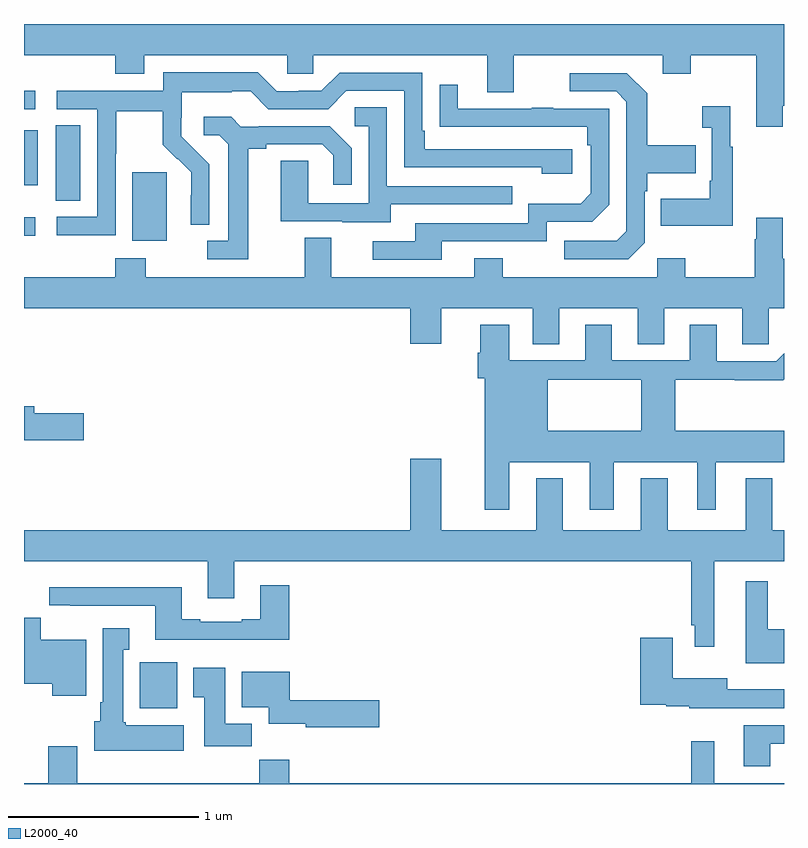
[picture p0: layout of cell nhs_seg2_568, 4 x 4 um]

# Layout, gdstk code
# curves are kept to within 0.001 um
import gdstk
lib = gdstk.Library(unit=1e-6, precision=1e-09)
def R(c, l, rs):  # rectangles x0, y0, x1, y1
    for r in rs: c.add(gdstk.rectangle(r[:2], r[2:], *l))
def P(c, l, *ps):  # polygons
    for p in ps: c.add(gdstk.Polygon(p, *l))
L2000_40 = (2000, 40)

nhs_seg2_568 = lib.new_cell('nhs_seg2_568')
R(nhs_seg2_568, L2000_40, [(139.61,644.198,139.807,644.44), (139.571,646.658,139.75,647.019), (139,646.686,139.06,646.782), (139.166,646.87,139.297,647.267), (139,646.952,139.072,647.242), (139,647.352,139.06,647.45)])
P(nhs_seg2_568, L2000_40, [(142.993,647.371),(143,647.371),(143,647.8),(139,647.8),(139,647.636),(139.481,647.636),(139.481,647.537),(139.633,647.537),(139.633,647.636),(140.385,647.636),(140.385,647.538),(140.523,647.538),(140.523,647.636),(141.437,647.636),(141.437,647.442),(141.577,647.442),(141.577,647.636),(142.361,647.636),(142.361,647.537),(142.509,647.537),(142.509,647.636),(142.853,647.636),(142.853,647.259),(142.993,647.259)],
  [(139.482,647.116),(139.485,647.116),(139.485,647.34),(139.729,647.34),(139.729,647.165),(139.806,647.088),(139.809,647.091),(139.88,647.021),(139.88,646.898),(139.878,646.898),(139.878,646.744),(139.974,646.744),(139.974,647.062),(139.828,647.21),(139.828,647.307),(139.83,647.307),(139.83,647.441),(140.093,647.441),(140.093,647.445),(140.193,647.445),(140.286,647.352),(140.601,647.352),(140.697,647.448),(141,647.448),(141,647.046),(141.725,647.046),(141.725,647.012),(141.886,647.012),(141.886,647.142),(141.109,647.142),(141.109,647.239),(141.096,647.239),(141.096,647.544),(140.661,647.544),(140.565,647.448),(140.447,647.448),(140.447,647.445),(140.331,647.445),(140.231,647.545),(139.734,647.545),(139.734,647.448),(139.173,647.448),(139.173,647.352),(139.386,647.352),(139.386,646.785),(139.173,646.785),(139.173,646.687),(139.482,646.687)],
  [(142.266,646.65),(142.266,646.919),(142.279,646.919),(142.279,647.015),(142.535,647.015),(142.535,647.163),(142.279,647.163),(142.279,647.435),(142.173,647.541),(141.873,647.541),(141.873,647.445),(142.116,647.445),(142.17,647.391),(142.17,646.71),(142.119,646.659),(141.843,646.659),(141.843,646.563),(142.179,646.563)],
  [(141.199,646.656),(141.75,646.656),(141.75,646.758),(141.99,646.758),(142.08,646.848),(142.08,647.355),(141.785,647.355),(141.785,647.36),(141.673,647.36),(141.673,647.355),(141.283,647.355),(141.283,647.479),(141.187,647.479),(141.187,647.26),(141.964,647.259),(141.964,647.162),(141.984,647.162),(141.984,646.908),(141.931,646.855),(141.654,646.855),(141.654,646.752),(141.059,646.752),(141.059,646.656),(140.835,646.656),(140.835,646.56),(141.199,646.56)],
  [(142.729,647.155),(142.717,647.155),(142.717,647.368),(142.569,647.368),(142.569,647.255),(142.62,647.255),(142.62,646.975),(142.608,646.975),(142.608,646.879),(142.351,646.879),(142.351,646.739),(142.729,646.739)],
  [(140.929,646.851),(141.569,646.851),(141.569,646.947),(140.91,646.947),(140.91,647.363),(140.742,647.363),(140.742,647.262),(140.814,647.262),(140.814,646.857),(140.496,646.857),(140.496,647.081),(140.351,647.081),(140.351,646.761),(140.675,646.761),(140.675,646.757),(140.929,646.757)],
  [(140.179,647.144),(140.275,647.144),(140.275,647.166),(140.57,647.166),(140.627,647.109),(140.627,646.953),(140.724,646.953),(140.724,647.146),(140.608,647.262),(140.236,647.262),(140.236,647.259),(140.142,647.259),(140.09,647.311),(139.947,647.311),(139.947,647.214),(140.028,647.214),(140.075,647.167),(140.075,646.659),(139.965,646.659),(139.965,646.563),(140.179,646.563)],
  [(141.817,646.304),(142.229,646.304),(142.229,646.114),(142.369,646.114),(142.369,646.304),(142.781,646.304),(142.781,646.114),(142.92,646.114),(142.92,646.304),(143,646.304),(143,646.564),(142.993,646.564),(142.993,646.78),(142.853,646.78),(142.853,646.667),(142.846,646.667),(142.846,646.468),(142.479,646.468),(142.479,646.567),(142.332,646.567),(142.332,646.468),(141.519,646.468),(141.519,646.567),(141.371,646.567),(141.371,646.468),(140.617,646.468),(140.617,646.676),(140.477,646.676),(140.477,646.468),(139.641,646.468),(139.641,646.567),(139.481,646.567),(139.481,646.468),(139,646.468),(139,646.304),(141.032,646.304),(141.032,646.116),(141.196,646.116),(141.196,646.304),(141.677,646.304),(141.677,646.114),(141.817,646.114)],
  [(141.553,645.243),(141.553,645.494),(141.977,645.494),(141.977,645.243),(142.105,645.243),(142.105,645.494),(142.544,645.494),(142.544,645.243),(142.642,645.243),(142.642,645.494),(143,645.494),(143,645.658),(142.427,645.658),(142.427,645.928),(142.741,645.928),(142.741,645.926),(142.997,645.926),(143,645.929),(143,646.067),(142.959,646.026),(142.645,646.026),(142.645,646.216),(142.505,646.216),(142.505,646.029),(142.093,646.029),(142.093,646.216),(141.953,646.216),(141.953,646.029),(141.553,646.029),(141.553,646.216),(141.401,646.216),(141.401,646.07),(141.389,646.07),(141.389,645.936),(141.425,645.936),(141.425,645.658),(141.757,645.658),(141.757,645.928),(142.249,645.928),(142.249,645.658),(141.425,645.658),(141.425,645.243)],
  [(139.315,645.752),(139.054,645.752),(139.054,645.788),(139,645.788),(139,645.61),(139.315,645.61)],
  [(142.633,644.972),(143,644.972),(143,645.136),(142.939,645.136),(142.939,645.409),(142.799,645.409),(142.799,645.136),(142.387,645.136),(142.387,645.409),(142.247,645.409),(142.247,645.136),(141.835,645.136),(141.835,645.409),(141.695,645.409),(141.695,645.136),(141.196,645.136),(141.196,645.511),(141.032,645.511),(141.032,645.136),(139,645.136),(139,644.972),(139.967,644.972),(139.967,644.778),(140.107,644.778),(140.107,644.972),(142.512,644.972),(142.512,644.635),(142.529,644.635),(142.529,644.523),(142.633,644.523)],
  [(143,644.614),(142.915,644.614),(142.915,644.866),(142.799,644.866),(142.799,644.435),(143,644.435)],
  [(140.396,644.845),(140.243,644.845),(140.243,644.668),(140.147,644.668),(140.147,644.655),(139.927,644.655),(139.927,644.668),(139.831,644.668),(139.831,644.836),(139.134,644.836),(139.134,644.741),(139.243,644.741),(139.243,644.739),(139.691,644.739),(139.691,644.558),(140.396,644.558)],
  [(139.327,644.56),(139.087,644.56),(139.087,644.676),(139,644.676),(139,644.327),(139.148,644.327),(139.148,644.264),(139.327,644.264)],
  [(139.84,644.11),(139.536,644.11),(139.536,644.124),(139.522,644.124),(139.522,644.507),(139.555,644.507),(139.555,644.62),(139.415,644.62),(139.415,644.23),(139.4,644.23),(139.4,644.13),(139.37,644.13),(139.37,643.976),(139.84,643.976)],
  [(143,644.299),(142.702,644.299),(142.702,644.356),(142.414,644.356),(142.414,644.569),(142.244,644.569),(142.244,644.216),(142.38,644.216),(142.38,644.209),(142.5,644.209),(142.5,644.198),(143,644.198)],
  [(140.198,644.116),(140.059,644.116),(140.059,644.413),(139.892,644.413),(139.892,644.257),(139.949,644.257),(139.949,643.998),(140.198,643.998)],
  [(140.869,644.24),(140.398,644.24),(140.398,644.392),(140.147,644.392),(140.147,644.204),(140.288,644.204),(140.288,644.117),(140.484,644.117),(140.484,644.098),(140.869,644.098)],
  [(142.927,644.013),(143,644.013),(143,644.109),(142.787,644.109),(142.787,643.893),(142.927,643.893)],
  [(143,643.804),(142.633,643.804),(142.633,644.026),(142.512,644.026),(142.512,643.804),(140.396,643.804),(140.396,643.928),(140.239,643.928),(140.239,643.804),(139.279,643.804),(139.279,643.999),(139.127,643.999),(139.127,643.804),(139,643.804),(139,643.8),(143,643.8)])

lib.write_gds('nhs_seg2_568.gds')
